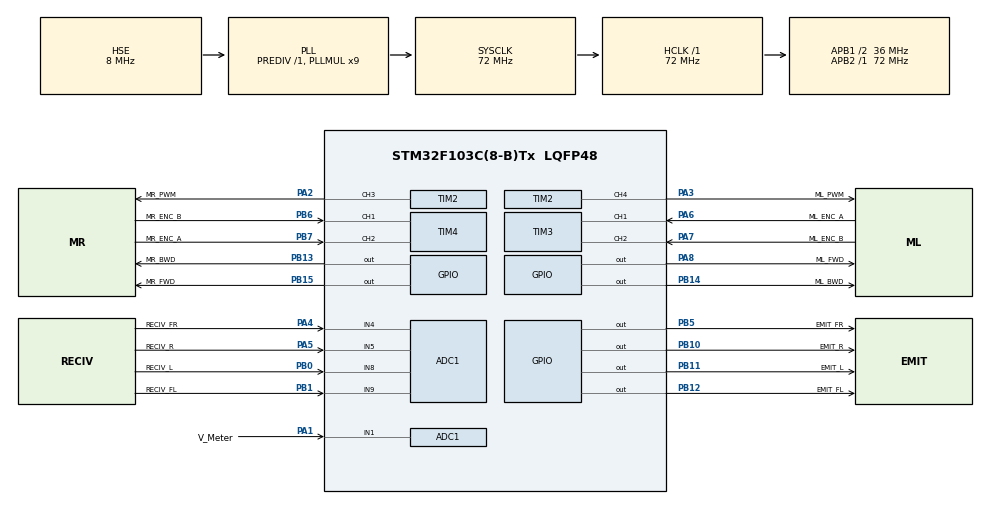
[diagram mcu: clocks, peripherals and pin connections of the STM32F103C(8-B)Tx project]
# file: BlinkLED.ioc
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ADC1.Channel-0\#ChannelRegularConversion=ADC_CHANNEL_9
ADC1.NbrOfConversionFlag=1
ADC1.Rank-0\#ChannelRegularConversion=1
ADC1.SamplingTime-0\#ChannelRegularConversion=ADC_SAMPLETIME_1CYCLE_5
ADC1.master=1
Mcu.Family=STM32F1
Mcu.Name=STM32F103C(8-B)Tx
Mcu.Package=LQFP48
NVIC.PriorityGroup=NVIC_PRIORITYGROUP_4
NVIC.TIM2_IRQn=true\:0\:0\:false\:false\:true\:true\:true\:true
NVIC.TIM3_IRQn=true\:0\:0\:false\:false\:true\:true\:true\:true
NVIC.TIM4_IRQn=true\:0\:0\:false\:false\:true\:true\:true\:true
PA1.GPIO_Label=V_Meter
PA1.Signal=ADCx_IN1
PA13.Mode=Serial_Wire
PA13.Signal=SYS_JTMS-SWDIO
PA14.Mode=Serial_Wire
PA14.Signal=SYS_JTCK-SWCLK
PA2.GPIO_Label=MR_PWM
PA2.Signal=S_TIM2_CH3
PA3.GPIO_Label=ML_PWM
PA3.Signal=S_TIM2_CH4
PA4.GPIO_Label=RECIV_FR
PA4.Signal=ADCx_IN4
PA5.GPIO_Label=RECIV_R
PA5.Signal=ADCx_IN5
PA6.GPIO_Label=ML_ENC_A
PA6.Signal=S_TIM3_CH1
PA7.GPIO_Label=ML_ENC_B
PA7.Signal=S_TIM3_CH2
PA8.GPIO_Label=ML_FWD
PA8.Signal=GPIO_Output
PB0.GPIO_Label=RECIV_L
PB0.Signal=ADCx_IN8
PB1.GPIO_Label=RECIV_FL
PB1.Signal=ADCx_IN9
PB10.GPIO_Label=EMIT_R
PB10.Signal=GPIO_Output
PB11.GPIO_Label=EMIT_L
PB11.Signal=GPIO_Output
PB12.GPIO_Label=EMIT_FL
PB12.Signal=GPIO_Output
PB13.GPIO_Label=MR_BWD
PB13.Signal=GPIO_Output
PB14.GPIO_Label=ML_BWD
PB14.Signal=GPIO_Output
PB15.GPIO_Label=MR_FWD
PB15.Signal=GPIO_Output
PB5.GPIO_Label=EMIT_FR
PB5.Signal=GPIO_Output
PB6.GPIO_Label=MR_ENC_B
PB6.Signal=S_TIM4_CH1
PB7.GPIO_Label=MR_ENC_A
PB7.Signal=S_TIM4_CH2
PD0-OSC_IN.Mode=HSE-External-Oscillator
PD0-OSC_IN.Signal=RCC_OSC_IN
PD1-OSC_OUT.Mode=HSE-External-Oscillator
PD1-OSC_OUT.Signal=RCC_OSC_OUT
ProjectManager.HeapSize=0x200
ProjectManager.StackSize=0x400
ProjectManager.TargetToolchain=STM32CubeIDE
RCC.ADCPresc=RCC_ADCPCLK2_DIV6
RCC.AHBFreq_Value=72000000
RCC.APB1CLKDivider=RCC_HCLK_DIV2
RCC.APB1Freq_Value=36000000
RCC.APB1TimFreq_Value=72000000
RCC.APB2Freq_Value=72000000
RCC.APB2TimFreq_Value=72000000
RCC.HCLKFreq_Value=72000000
RCC.PLLMUL=RCC_PLL_MUL9
RCC.PLLSourceVirtual=RCC_PLLSOURCE_HSE
RCC.SYSCLKFreq_VALUE=72000000
RCC.SYSCLKSource=RCC_SYSCLKSOURCE_PLLCLK
RCC.USBFreq_Value=72000000
SH.ADCx_IN1.0=ADC1_IN1,IN1
SH.ADCx_IN4.0=ADC1_IN4,IN4
SH.ADCx_IN5.0=ADC1_IN5,IN5
SH.ADCx_IN8.0=ADC1_IN8,IN8
SH.ADCx_IN9.0=ADC1_IN9,IN9
SH.S_TIM2_CH3.0=TIM2_CH3,PWM Generation3 CH3
SH.S_TIM2_CH4.0=TIM2_CH4,PWM Generation4 CH4
SH.S_TIM3_CH1.0=TIM3_CH1,Encoder_Interface
SH.S_TIM3_CH2.0=TIM3_CH2,Encoder_Interface
SH.S_TIM4_CH1.0=TIM4_CH1,Encoder_Interface
SH.S_TIM4_CH2.0=TIM4_CH2,Encoder_Interface
TIM2.AutoReloadPreload=TIM_AUTORELOAD_PRELOAD_ENABLE
TIM2.Channel-PWM\ Generation3\ CH3=TIM_CHANNEL_3
TIM2.Channel-PWM\ Generation4\ CH4=TIM_CHANNEL_4
TIM2.Period=10000
TIM2.Prescaler=72
TIM2.Pulse-PWM\ Generation3\ CH3=0
TIM2.Pulse-PWM\ Generation4\ CH4=0
TIM3.EncoderMode=TIM_ENCODERMODE_TI12
TIM3.IC1Polarity=TIM_ICPOLARITY_FALLING
TIM3.IC2Polarity=TIM_ICPOLARITY_FALLING
TIM4.EncoderMode=TIM_ENCODERMODE_TI12
TIM4.IC1Polarity=TIM_ICPOLARITY_FALLING
TIM4.IC2Polarity=TIM_ICPOLARITY_FALLING
VP_TIM2_VS_ClockSourceINT.Mode=Internal
board=custom

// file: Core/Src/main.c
/* USER CODE BEGIN Header */
/**
  ******************************************************************************
  * @file           : main.c
  * @brief          : Main program body
  ******************************************************************************
  * @attention
  *
  * Copyright (c) 2023 STMicroelectronics.
  * All rights reserved.
  *
  * This software is licensed under terms that can be found in the LICENSE file
  * in the root directory of this software component.
  * If no LICENSE file comes with this software, it is provided AS-IS.
  *
  ******************************************************************************
  */
/* USER CODE END Header */
#include "main.h"

/* USER CODE BEGIN Includes */
#include <stdio.h>
#include <math.h>
#include "ir_sensors.h"
#include "motors.h"

/* USER CODE END Includes */

//ADC_HandleTypeDef hadc1;

TIM_HandleTypeDef htim2;
TIM_HandleTypeDef htim3;
TIM_HandleTypeDef htim4;

/* USER CODE BEGIN PV */

int32_t exp_dist = 0;
int32_t measured_dist_L = 0;

int motorL = 0;
int motorR = 0;

const int base_PWM = 1300;
const int K_rot = 5;

/* USER CODE END PV */

void SystemClock_Config(void);
static void MX_GPIO_Init(void);
static void MX_TIM2_Init(void);
static void MX_ADC1_Init(void);
static void MX_TIM3_Init(void);
static void MX_TIM4_Init(void);

/* USER CODE BEGIN 0 */

//
//
//int FWD_Controller() //Perhaps add encoder tick value )
//{
//
//
//	float error;
//	float espect_dist = 180;
//	int32_t Kp = 2;
//
//	error = espect_dist - d_center;
//
//	float fwd_output_voltage = error*Kp;
//
//	return fwd_output_voltage;
//
//}

int min(int a, int b)
{
	return (a < b) ? a : b;
}

int max(int a, int b)
{
	return (a > b) ? a : b;
}

/* USER CODE END 0 */

int main(void)
{
  /* USER CODE BEGIN 1 */
	//int x = 0;
  /* USER CODE END 1 */

  /* MCU Configuration--------------------------------------------------------*/

  /* Reset of all peripherals, Initializes the Flash interface and the Systick. */
  HAL_Init();

  /* Configure the system clock */
  SystemClock_Config();

  /* Initialize all configured peripherals */
  MX_GPIO_Init();
  MX_TIM2_Init();
  MX_ADC1_Init();
  MX_TIM3_Init();
  MX_TIM4_Init();
  /* USER CODE BEGIN 2 */
  HAL_TIM_Base_Start_IT(&htim2);
  HAL_TIM_PWM_Start(&htim2, TIM_CHANNEL_3);
  HAL_TIM_PWM_Start(&htim2, TIM_CHANNEL_4);

  HAL_TIM_Encoder_Start_IT(&htim3, TIM_CHANNEL_ALL);
  HAL_TIM_Encoder_Start_IT(&htim4, TIM_CHANNEL_ALL);

  /* USER CODE END 2 */

  /* Infinite loop */
  while (1)
  {

    /* USER CODE BEGIN 3 */
	 // IR_test();
	  //motor_voltage_value();
	 motor_test();

  }
  /* USER CODE END 3 */
}

void SystemClock_Config(void)
{
  RCC_OscInitTypeDef RCC_OscInitStruct = {0};
  RCC_ClkInitTypeDef RCC_ClkInitStruct = {0};
  RCC_PeriphCLKInitTypeDef PeriphClkInit = {0};

  /** Initializes the RCC Oscillators according to the specified parameters
  * in the RCC_OscInitTypeDef structure.
  */
  RCC_OscInitStruct.OscillatorType = RCC_OSCILLATORTYPE_HSE;
  RCC_OscInitStruct.HSEState = RCC_HSE_ON;
  RCC_OscInitStruct.HSEPredivValue = RCC_HSE_PREDIV_DIV1;
  RCC_OscInitStruct.HSIState = RCC_HSI_ON;
  RCC_OscInitStruct.PLL.PLLState = RCC_PLL_ON;
  RCC_OscInitStruct.PLL.PLLSource = RCC_PLLSOURCE_HSE;
  RCC_OscInitStruct.PLL.PLLMUL = RCC_PLL_MUL9;
  if (HAL_RCC_OscConfig(&RCC_OscInitStruct) != HAL_OK)
  {
    Error_Handler();
  }

  /** Initializes the CPU, AHB and APB buses clocks
  */
  RCC_ClkInitStruct.ClockType = RCC_CLOCKTYPE_HCLK|RCC_CLOCKTYPE_SYSCLK
                              |RCC_CLOCKTYPE_PCLK1|RCC_CLOCKTYPE_PCLK2;
  RCC_ClkInitStruct.SYSCLKSource = RCC_SYSCLKSOURCE_PLLCLK;
  RCC_ClkInitStruct.AHBCLKDivider = RCC_SYSCLK_DIV1;
  RCC_ClkInitStruct.APB1CLKDivider = RCC_HCLK_DIV2;
  RCC_ClkInitStruct.APB2CLKDivider = RCC_HCLK_DIV1;

  if (HAL_RCC_ClockConfig(&RCC_ClkInitStruct, FLASH_LATENCY_2) != HAL_OK)
  {
    Error_Handler();
  }
  PeriphClkInit.PeriphClockSelection = RCC_PERIPHCLK_ADC;
  PeriphClkInit.AdcClockSelection = RCC_ADCPCLK2_DIV6;
  if (HAL_RCCEx_PeriphCLKConfig(&PeriphClkInit) != HAL_OK)
  {
    Error_Handler();
  }
}

static void MX_ADC1_Init(void)
{

  ADC_ChannelConfTypeDef sConfig = {0};

  /** Common config
  */
  hadc1.Instance = ADC1;
  hadc1.Init.ScanConvMode = ADC_SCAN_DISABLE;
  hadc1.Init.ContinuousConvMode = DISABLE;
  hadc1.Init.DiscontinuousConvMode = DISABLE;
  hadc1.Init.ExternalTrigConv = ADC_SOFTWARE_START;
  hadc1.Init.DataAlign = ADC_DATAALIGN_RIGHT;
  hadc1.Init.NbrOfConversion = 1;
  if (HAL_ADC_Init(&hadc1) != HAL_OK)
  {
    Error_Handler();
  }

  /** Configure Regular Channel
  */
  sConfig.Channel = ADC_CHANNEL_9;
  sConfig.Rank = ADC_REGULAR_RANK_1;
  sConfig.SamplingTime = ADC_SAMPLETIME_1CYCLE_5;
  if (HAL_ADC_ConfigChannel(&hadc1, &sConfig) != HAL_OK)
  {
    Error_Handler();
  }

}

static void MX_TIM2_Init(void)
{

  TIM_ClockConfigTypeDef sClockSourceConfig = {0};
  TIM_MasterConfigTypeDef sMasterConfig = {0};
  TIM_OC_InitTypeDef sConfigOC = {0};

  htim2.Instance = TIM2;
  htim2.Init.Prescaler = 72;
  htim2.Init.CounterMode = TIM_COUNTERMODE_UP;
  htim2.Init.Period = 10000;
  htim2.Init.ClockDivision = TIM_CLOCKDIVISION_DIV1;
  htim2.Init.AutoReloadPreload = TIM_AUTORELOAD_PRELOAD_ENABLE;
  if (HAL_TIM_Base_Init(&htim2) != HAL_OK)
  {
    Error_Handler();
  }
  sClockSourceConfig.ClockSource = TIM_CLOCKSOURCE_INTERNAL;
  if (HAL_TIM_ConfigClockSource(&htim2, &sClockSourceConfig) != HAL_OK)
  {
    Error_Handler();
  }
  if (HAL_TIM_PWM_Init(&htim2) != HAL_OK)
  {
    Error_Handler();
  }
  sMasterConfig.MasterOutputTrigger = TIM_TRGO_RESET;
  sMasterConfig.MasterSlaveMode = TIM_MASTERSLAVEMODE_DISABLE;
  if (HAL_TIMEx_MasterConfigSynchronization(&htim2, &sMasterConfig) != HAL_OK)
  {
    Error_Handler();
  }
  sConfigOC.OCMode = TIM_OCMODE_PWM1;
  sConfigOC.Pulse = 0;
  sConfigOC.OCPolarity = TIM_OCPOLARITY_HIGH;
  sConfigOC.OCFastMode = TIM_OCFAST_DISABLE;
  if (HAL_TIM_PWM_ConfigChannel(&htim2, &sConfigOC, TIM_CHANNEL_3) != HAL_OK)
  {
    Error_Handler();
  }
  if (HAL_TIM_PWM_ConfigChannel(&htim2, &sConfigOC, TIM_CHANNEL_4) != HAL_OK)
  {
    Error_Handler();
  }
  HAL_TIM_MspPostInit(&htim2);

}

static void MX_TIM3_Init(void)
{

  TIM_Encoder_InitTypeDef sConfig = {0};
  TIM_MasterConfigTypeDef sMasterConfig = {0};

  htim3.Instance = TIM3;
  htim3.Init.Prescaler = 0;
  htim3.Init.CounterMode = TIM_COUNTERMODE_UP;
  htim3.Init.Period = 65535;
  htim3.Init.ClockDivision = TIM_CLOCKDIVISION_DIV1;
  htim3.Init.AutoReloadPreload = TIM_AUTORELOAD_PRELOAD_DISABLE;
  sConfig.EncoderMode = TIM_ENCODERMODE_TI12;
  sConfig.IC1Polarity = TIM_ICPOLARITY_FALLING;
  sConfig.IC1Selection = TIM_ICSELECTION_DIRECTTI;
  sConfig.IC1Prescaler = TIM_ICPSC_DIV1;
  sConfig.IC1Filter = 0;
  sConfig.IC2Polarity = TIM_ICPOLARITY_FALLING;
  sConfig.IC2Selection = TIM_ICSELECTION_DIRECTTI;
  sConfig.IC2Prescaler = TIM_ICPSC_DIV1;
  sConfig.IC2Filter = 0;
  if (HAL_TIM_Encoder_Init(&htim3, &sConfig) != HAL_OK)
  {
    Error_Handler();
  }
  sMasterConfig.MasterOutputTrigger = TIM_TRGO_RESET;
  sMasterConfig.MasterSlaveMode = TIM_MASTERSLAVEMODE_DISABLE;
  if (HAL_TIMEx_MasterConfigSynchronization(&htim3, &sMasterConfig) != HAL_OK)
  {
    Error_Handler();
  }

}

static void MX_TIM4_Init(void)
{

  TIM_Encoder_InitTypeDef sConfig = {0};
  TIM_MasterConfigTypeDef sMasterConfig = {0};

  htim4.Instance = TIM4;
  htim4.Init.Prescaler = 0;
  htim4.Init.CounterMode = TIM_COUNTERMODE_UP;
  htim4.Init.Period = 65535;
  htim4.Init.ClockDivision = TIM_CLOCKDIVISION_DIV1;
  htim4.Init.AutoReloadPreload = TIM_AUTORELOAD_PRELOAD_DISABLE;
  sConfig.EncoderMode = TIM_ENCODERMODE_TI12;
  sConfig.IC1Polarity = TIM_ICPOLARITY_FALLING;
  sConfig.IC1Selection = TIM_ICSELECTION_DIRECTTI;
  sConfig.IC1Prescaler = TIM_ICPSC_DIV1;
  sConfig.IC1Filter = 0;
  sConfig.IC2Polarity = TIM_ICPOLARITY_FALLING;
  sConfig.IC2Selection = TIM_ICSELECTION_DIRECTTI;
  sConfig.IC2Prescaler = TIM_ICPSC_DIV1;
  sConfig.IC2Filter = 0;
  if (HAL_TIM_Encoder_Init(&htim4, &sConfig) != HAL_OK)
  {
    Error_Handler();
  }
  sMasterConfig.MasterOutputTrigger = TIM_TRGO_RESET;
  sMasterConfig.MasterSlaveMode = TIM_MASTERSLAVEMODE_DISABLE;
  if (HAL_TIMEx_MasterConfigSynchronization(&htim4, &sMasterConfig) != HAL_OK)
  {
    Error_Handler();
  }

}

static void MX_GPIO_Init(void)
{
  GPIO_InitTypeDef GPIO_InitStruct = {0};

  /* GPIO Ports Clock Enable */
  __HAL_RCC_GPIOD_CLK_ENABLE();
  __HAL_RCC_GPIOA_CLK_ENABLE();
  __HAL_RCC_GPIOB_CLK_ENABLE();

  /*Configure GPIO pin Output Level */
  HAL_GPIO_WritePin(GPIOB, EMIT_R_Pin|EMIT_L_Pin|EMIT_FL_Pin|MR_BWD_Pin
                          |ML_BWD_Pin|MR_FWD_Pin|EMIT_FR_Pin, GPIO_PIN_RESET);

  /*Configure GPIO pin Output Level */
  HAL_GPIO_WritePin(ML_FWD_GPIO_Port, ML_FWD_Pin, GPIO_PIN_RESET);

  /*Configure GPIO pins : EMIT_R_Pin EMIT_L_Pin EMIT_FL_Pin MR_BWD_Pin
                           ML_BWD_Pin MR_FWD_Pin EMIT_FR_Pin */
  GPIO_InitStruct.Pin = EMIT_R_Pin|EMIT_L_Pin|EMIT_FL_Pin|MR_BWD_Pin
                          |ML_BWD_Pin|MR_FWD_Pin|EMIT_FR_Pin;
  GPIO_InitStruct.Mode = GPIO_MODE_OUTPUT_PP;
  GPIO_InitStruct.Pull = GPIO_NOPULL;
  GPIO_InitStruct.Speed = GPIO_SPEED_FREQ_LOW;
  HAL_GPIO_Init(GPIOB, &GPIO_InitStruct);

  /*Configure GPIO pin : ML_FWD_Pin */
  GPIO_InitStruct.Pin = ML_FWD_Pin;
  GPIO_InitStruct.Mode = GPIO_MODE_OUTPUT_PP;
  GPIO_InitStruct.Pull = GPIO_NOPULL;
  GPIO_InitStruct.Speed = GPIO_SPEED_FREQ_LOW;
  HAL_GPIO_Init(ML_FWD_GPIO_Port, &GPIO_InitStruct);

}

/* USER CODE BEGIN 4 */
void ADC1_Select_CH1(void) {
	ADC_ChannelConfTypeDef sConfig = {0};

	sConfig.Channel = ADC_CHANNEL_1;
	sConfig.Rank = ADC_REGULAR_RANK_1;
	sConfig.SamplingTime = ADC_SAMPLETIME_7CYCLES_5;
	if (HAL_ADC_ConfigChannel(&hadc1, &sConfig) != HAL_OK)
	{
		Error_Handler();
	}
}

//static void ADC1_Select_CH1(void) {
//	ADC_ChannelConfTypeDef sConfig = {0};
//
//	sConfig.Channel = ADC_CHANNEL_1;
//	sConfig.Rank = ADC_REGULAR_RANK_1;
//	sConfig.SamplingTime = ADC_SAMPLETIME_7CYCLES_5;
//	if (HAL_ADC_ConfigChannel(&hadc1, &sConfig) != HAL_OK)
//	{
//		Error_Handler();
//	}
//}

/* USER CODE END 4 */

void Error_Handler(void)
{
  __disable_irq();
  while (1)
  {
  }
}
